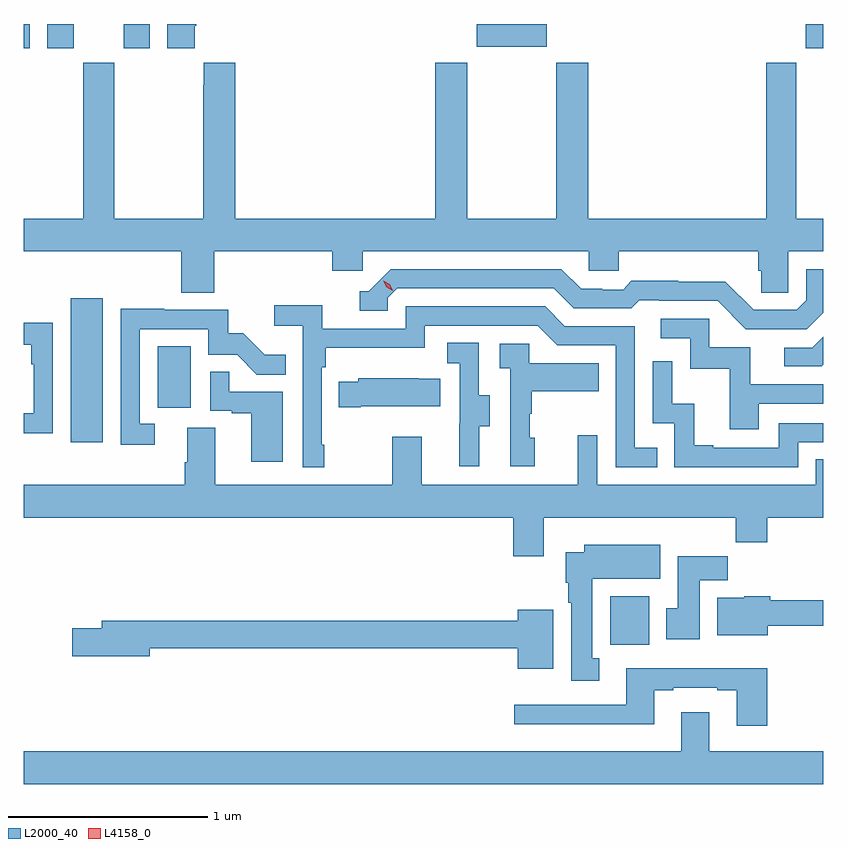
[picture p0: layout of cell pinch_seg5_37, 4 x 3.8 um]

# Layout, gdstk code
import gdstk
lib = gdstk.Library(unit=1e-6, precision=1e-09)
def R(c, l, rs):  # rectangles x0, y0, x1, y1
    for r in rs: c.add(gdstk.rectangle(r[:2], r[2:], *l))
def P(c, l, *ps):  # polygons
    for p in ps: c.add(gdstk.Polygon(p, *l))
L2000_40 = (2000, 40)
L4158_0 = (4158, 0)

pinch_seg5_37 = lib.new_cell('pinch_seg5_37')
R(pinch_seg5_37, L2000_40, [(1105.31,893.42,1105.507,893.662), (1102.613,894.432,1102.774,895.153), (1103.048,894.606,1103.212,894.913), (1102.377,896.403,1102.408,896.525), (1102.496,896.403,1102.627,896.525), (1102.877,896.403,1103.008,896.525), (1106.288,896.403,1106.377,896.525), (1104.644,896.411,1104.994,896.525)])
P(pinch_seg5_37, L2000_40, [(1103.233,896.515),(1103.24,896.515),(1103.24,896.525),(1103.096,896.525),(1103.096,896.403),(1103.233,896.403)],
  [(1103.33,895.388),(1103.921,895.388),(1103.921,895.29),(1104.072,895.29),(1104.072,895.388),(1105.203,895.388),(1105.203,895.29),(1105.353,895.29),(1105.353,895.388),(1106.051,895.388),(1106.051,895.29),(1106.065,895.29),(1106.065,895.18),(1106.202,895.18),(1106.202,895.388),(1106.377,895.388),(1106.377,895.552),(1106.242,895.552),(1106.242,896.331),(1106.09,896.331),(1106.09,895.552),(1105.202,895.552),(1105.202,896.332),(1105.042,896.332),(1105.042,895.552),(1104.597,895.552),(1104.597,896.332),(1104.437,896.332),(1104.437,895.552),(1103.435,895.552),(1103.435,896.332),(1103.279,896.332),(1103.279,896.219),(1103.275,896.219),(1103.275,895.552),(1102.83,895.552),(1102.83,896.332),(1102.675,896.332),(1102.675,895.552),(1102.377,895.552),(1102.377,895.388),(1103.165,895.388),(1103.165,895.18),(1103.33,895.18)],
  [(1106.377,895.081),(1106.377,895.299),(1106.292,895.299),(1106.292,895.143),(1106.244,895.095),(1106.028,895.095),(1105.886,895.237),(1105.65,895.237),(1105.65,895.24),(1105.417,895.24),(1105.375,895.197),(1105.272,895.197),(1105.272,895.2),(1105.165,895.2),(1105.066,895.299),(1104.213,895.299),(1104.102,895.188),(1104.059,895.188),(1104.059,895.092),(1104.198,895.092),(1104.198,895.155),(1104.246,895.203),(1105.029,895.203),(1105.128,895.104),(1105.417,895.104),(1105.456,895.143),(1105.555,895.143),(1105.555,895.14),(1105.848,895.14),(1105.989,894.999),(1106.295,894.999)],
  [(1103.881,894.421),(1103.868,894.421),(1103.868,894.809),(1103.888,894.809),(1103.888,894.905),(1104.384,894.905),(1104.384,895.017),(1104.948,895.017),(1105.047,894.918),(1105.338,894.918),(1105.338,894.309),(1105.547,894.309),(1105.547,894.405),(1105.434,894.405),(1105.434,895.014),(1105.084,895.014),(1104.985,895.113),(1104.288,895.113),(1104.288,895.002),(1103.87,895.002),(1103.87,895.118),(1103.631,895.118),(1103.631,895.016),(1103.772,895.016),(1103.772,894.309),(1103.881,894.309)],
  [(1103.032,894.525),(1102.959,894.525),(1102.959,894.999),(1103.301,894.999),(1103.301,894.87),(1103.445,894.87),(1103.543,894.772),(1103.687,894.772),(1103.687,894.871),(1103.583,894.871),(1103.476,894.978),(1103.4,894.978),(1103.4,895.095),(1103.081,895.095),(1103.081,895.1),(1102.863,895.1),(1102.863,894.42),(1103.032,894.42)],
  [(1106.053,894.627),(1106.377,894.627),(1106.377,894.723),(1106.011,894.723),(1106.011,894.909),(1105.806,894.909),(1105.806,895.05),(1105.563,895.05),(1105.563,894.954),(1105.71,894.954),(1105.71,894.801),(1105.909,894.801),(1105.909,894.498),(1106.053,894.498)],
  [(1102.524,895.03),(1102.377,895.03),(1102.377,894.92),(1102.415,894.92),(1102.415,894.824),(1102.428,894.824),(1102.428,894.579),(1102.377,894.579),(1102.377,894.478),(1102.524,894.478)],
  [(1106.377,894.822),(1106.377,894.961),(1106.322,894.906),(1106.181,894.906),(1106.181,894.813),(1106.368,894.813)],
  [(1104.655,894.514),(1104.709,894.514),(1104.709,894.669),(1104.654,894.669),(1104.654,894.932),(1104.495,894.932),(1104.495,894.829),(1104.558,894.829),(1104.558,894.525),(1104.557,894.525),(1104.557,894.312),(1104.655,894.312)],
  [(1104.934,894.456),(1104.909,894.456),(1104.909,894.575),(1104.919,894.575),(1104.919,894.689),(1105.253,894.689),(1105.253,894.829),(1104.906,894.829),(1104.906,894.927),(1104.759,894.927),(1104.759,894.803),(1104.81,894.803),(1104.81,894.312),(1104.934,894.312)],
  [(1106.25,894.432),(1106.377,894.432),(1106.377,894.528),(1106.154,894.528),(1106.154,894.405),(1105.825,894.405),(1105.825,894.418),(1105.73,894.418),(1105.73,894.626),(1105.62,894.626),(1105.62,894.838),(1105.524,894.838),(1105.524,894.528),(1105.632,894.528),(1105.632,894.309),(1106.25,894.309)],
  [(1103.674,894.687),(1103.405,894.687),(1103.405,894.785),(1103.31,894.785),(1103.31,894.591),(1103.417,894.591),(1103.417,894.579),(1103.516,894.579),(1103.516,894.336),(1103.674,894.336)],
  [(1104.064,894.614),(1104.461,894.614),(1104.461,894.751),(1104.353,894.751),(1104.353,894.754),(1104.051,894.754),(1104.051,894.736),(1103.953,894.736),(1103.953,894.607),(1104.064,894.607)],
  [(1104.979,894.056),(1105.939,894.056),(1105.939,893.932),(1106.096,893.932),(1106.096,894.056),(1106.377,894.056),(1106.377,894.347),(1106.34,894.347),(1106.34,894.22),(1105.245,894.22),(1105.245,894.469),(1105.148,894.469),(1105.148,894.22),(1104.367,894.22),(1104.367,894.46),(1104.22,894.46),(1104.22,894.22),(1103.335,894.22),(1103.335,894.506),(1103.195,894.506),(1103.195,894.332),(1103.183,894.332),(1103.183,894.22),(1102.377,894.22),(1102.377,894.056),(1104.827,894.056),(1104.827,893.862),(1104.979,893.862)],
  [(1105.255,893.354),(1105.222,893.354),(1105.222,893.75),(1105.561,893.75),(1105.561,893.92),(1105.181,893.92),(1105.181,893.884),(1105.088,893.884),(1105.088,893.73),(1105.1,893.73),(1105.1,893.63),(1105.115,893.63),(1105.115,893.241),(1105.255,893.241)],
  [(1105.759,893.744),(1105.898,893.744),(1105.898,893.862),(1105.649,893.862),(1105.649,893.604),(1105.592,893.604),(1105.592,893.448),(1105.759,893.448)],
  [(1106.098,893.515),(1106.377,893.515),(1106.377,893.644),(1106.111,893.644),(1106.111,893.662),(1105.98,893.662),(1105.98,893.656),(1105.847,893.656),(1105.847,893.468),(1106.098,893.468)],
  [(1105.027,893.596),(1104.848,893.596),(1104.848,893.54),(1102.769,893.54),(1102.769,893.504),(1102.62,893.504),(1102.62,893.362),(1103.008,893.362),(1103.008,893.404),(1104.848,893.404),(1104.848,893.3),(1105.027,893.3)],
  [(1106.096,893.302),(1105.391,893.302),(1105.391,893.121),(1104.831,893.121),(1104.831,893.024),(1105.531,893.024),(1105.531,893.193),(1105.627,893.193),(1105.627,893.205),(1105.847,893.205),(1105.847,893.193),(1105.943,893.193),(1105.943,893.016),(1106.096,893.016)],
  [(1106.377,892.888),(1105.807,892.888),(1105.807,893.083),(1105.667,893.083),(1105.667,892.888),(1102.377,892.888),(1102.377,892.724),(1106.377,892.724)])
P(pinch_seg5_37, L4158_0, [(1104.223,895.19),(1104.192,895.209),(1104.176,895.242),(1104.176,895.242),(1104.176,895.242),(1104.207,895.223),(1104.223,895.19),(1104.223,895.19)])

lib.write_gds('pinch_seg5_37.gds')
